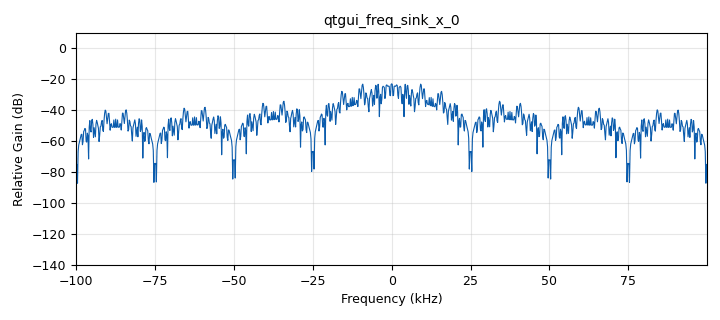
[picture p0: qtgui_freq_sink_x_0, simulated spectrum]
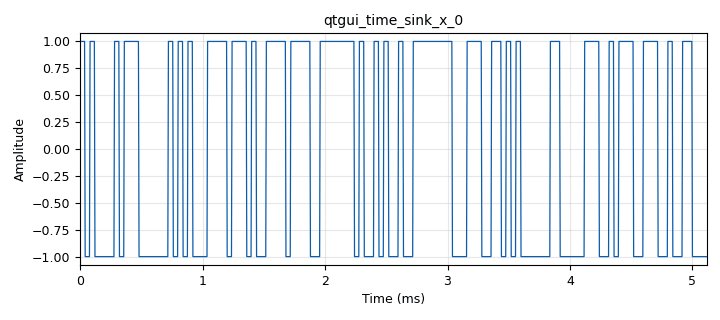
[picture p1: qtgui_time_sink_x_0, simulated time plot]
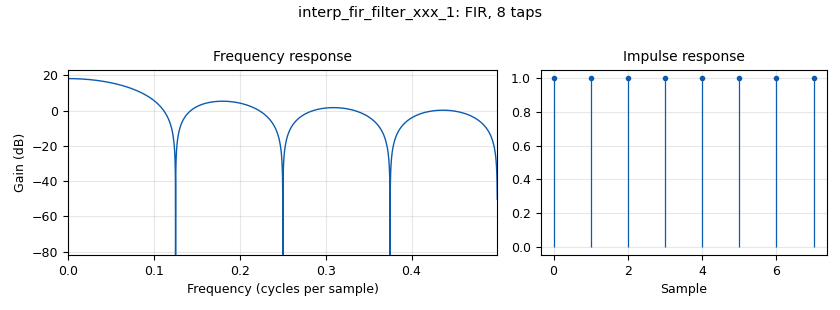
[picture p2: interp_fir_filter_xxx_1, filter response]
options:
  parameters:
    generate_options: qt_gui
    id: builwaveforms
    output_language: python
    title: Not titled yet
  states: {}

blocks:
- name: fm
  id: variable_qtgui_range
  parameters:
    start: '0'
    step: '100'
    stop: '10000'
    value: '4000'
    widget: counter
  states: {}
- name: samp_rate
  id: variable
  parameters:
    value: 200e3
  states: {}
- name: analog_random_source_x_0
  id: analog_random_source_x
  parameters:
    max: '2'
    min: '0'
    num_samps: '1000'
    repeat: 'True'
    type: byte
  states: {}
- name: analog_sig_source_x_0
  id: analog_sig_source_x
  parameters:
    amp: '1'
    freq: 2e3
    offset: '0'
    phase: '0'
    samp_rate: samp_rate
    type: float
    waveform: analog.GR_SIN_WAVE
  states: {state: disabled}
- name: analog_sig_source_x_0_0
  id: analog_sig_source_x
  parameters:
    amp: '1'
    freq: 10e3
    offset: '-0'
    phase: '0'
    samp_rate: samp_rate
    type: float
    waveform: analog.GR_SIN_WAVE
  states: {state: disabled}
- name: blocks_add_const_vxx_0
  id: blocks_add_const_vxx
  parameters:
    const: '-1'
    type: float
  states: {}
- name: blocks_add_xx_0
  id: blocks_add_xx
  parameters:
    type: float
  states: {state: disabled}
- name: blocks_char_to_float_0
  id: blocks_char_to_float
  parameters:
    scale: '1'
  states: {}
- name: blocks_file_sink_0
  id: blocks_file_sink
  parameters:
    file: prbs_square_waveform.dat
    type: float
  states: {}
- name: blocks_multiply_const_vxx_0
  id: blocks_multiply_const_vxx
  parameters:
    const: '2'
    type: float
  states: {}
- name: blocks_throttle2_0
  id: blocks_throttle2
  parameters:
    samples_per_second: samp_rate
    type: float
  states: {}
- name: interp_fir_filter_xxx_1
  id: interp_fir_filter_xxx
  parameters:
    interp: '8'
    taps: '[1, 1, 1, 1, 1, 1, 1, 1 ]'
    type: fff
  states: {}
- name: qtgui_freq_sink_x_0
  id: qtgui_freq_sink_x
  parameters:
    bw: samp_rate
    fc: '0'
    fftsize: '1024'
    type: float
  states: {}
- name: qtgui_time_sink_x_0
  id: qtgui_time_sink_x
  parameters:
    size: '1024'
    srate: samp_rate
    type: float
  states: {}
- name: root_raised_cosine_filter_0
  id: root_raised_cosine_filter
  parameters:
    alpha: '0.35'
    gain: '1'
    interp: '8'
    ntaps: '48'
    samp_rate: samp_rate
    sym_rate: 25e3
    type: interp_fir_filter_fff
  states: {state: disabled}

connections:
- [analog_random_source_x_0, '0', blocks_char_to_float_0, '0']
- [analog_sig_source_x_0, '0', blocks_add_xx_0, '0']
- [analog_sig_source_x_0_0, '0', blocks_add_xx_0, '1']
- [blocks_add_const_vxx_0, '0', interp_fir_filter_xxx_1, '0']
- [blocks_add_const_vxx_0, '0', root_raised_cosine_filter_0, '0']
- [blocks_add_xx_0, '0', blocks_throttle2_0, '0']
- [blocks_char_to_float_0, '0', blocks_multiply_const_vxx_0, '0']
- [blocks_multiply_const_vxx_0, '0', blocks_add_const_vxx_0, '0']
- [blocks_throttle2_0, '0', blocks_file_sink_0, '0']
- [blocks_throttle2_0, '0', qtgui_freq_sink_x_0, '0']
- [blocks_throttle2_0, '0', qtgui_time_sink_x_0, '0']
- [interp_fir_filter_xxx_1, '0', blocks_throttle2_0, '0']
- [root_raised_cosine_filter_0, '0', blocks_throttle2_0, '0']

metadata:
  file_format: 1
  grc_version: 3.10.9.2
